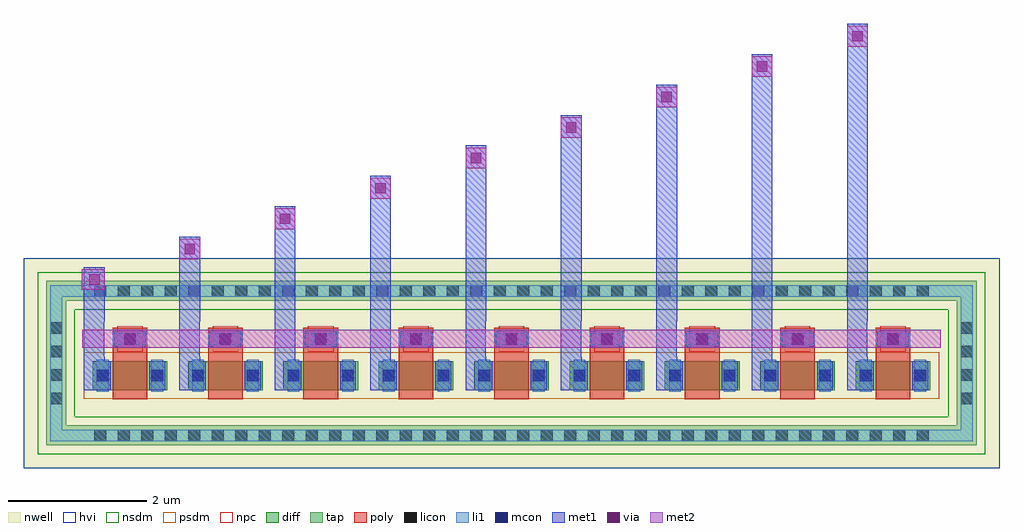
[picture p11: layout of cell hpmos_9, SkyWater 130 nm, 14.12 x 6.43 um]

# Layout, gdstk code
import gdstk
lib = gdstk.Library(unit=1e-6, precision=1e-09)
def R(c, l, rs):  # rectangles x0, y0, x1, y1
    for r in rs: c.add(gdstk.rectangle(r[:2], r[2:], *l))
def A(c, l, x, y, w, h, nx, ny, dx, dy):  # array of equal rectangles
    R(c, l, [(x+i*dx, y+j*dy, x+i*dx+w, y+j*dy+h) for i in range(nx) for j in range(ny)])
nwell = (64, 20)
diff = (65, 20)
tap = (65, 44)
poly = (66, 20)
licon = (66, 44)
li1 = (67, 20)
mcon = (67, 44)
met1 = (68, 20)
via = (68, 44)
met2 = (69, 20)
hvi = (75, 20)
nsdm = (93, 44)
psdm = (94, 20)
npc = (95, 20)

sky130_fd_pr__pfet_g5v0d = lib.new_cell('sky130_fd_pr__pfet_g5v0d10v5_WJ97JY')
R(sky130_fd_pr__pfet_g5v0d, nwell, [(-0.72,-0.7,0.72,0.53)])
R(sky130_fd_pr__pfet_g5v0d, diff, [(-0.54,-0.39,0.54,0.03)])
R(sky130_fd_pr__pfet_g5v0d, poly, [(-0.25,-0.52,0.25,0.515)])
R(sky130_fd_pr__pfet_g5v0d, licon, [(-0.48,-0.265,-0.31,-0.095), (0.31,-0.265,0.48,-0.095), (-0.085,0.265,0.085,0.435)])
R(sky130_fd_pr__pfet_g5v0d, li1, [(-0.48,-0.41,-0.31,0.05), (0.31,-0.41,0.48,0.05), (-0.25,0.265,0.25,0.435)])
R(sky130_fd_pr__pfet_g5v0d, mcon, [(-0.48,-0.265,-0.31,-0.095), (0.31,-0.265,0.48,-0.095), (-0.085,0.265,0.085,0.435)])
R(sky130_fd_pr__pfet_g5v0d, met1, [(-0.51,-0.39,-0.28,0.03), (0.28,-0.39,0.51,0.03), (-0.23,0.235,0.23,0.465)])
R(sky130_fd_pr__pfet_g5v0d, hvi, [(-0.72,-0.7,0.72,-0.6), (-1.145,-0.6,1.145,0.24), (-0.72,0.24,0.72,0.53)])
R(sky130_fd_pr__pfet_g5v0d, psdm, [(-0.665,-0.515,0.665,0.155)])
R(sky130_fd_pr__pfet_g5v0d, npc, [(-0.185,0.165,0.185,0.535)])

hpmos_1 = lib.new_cell('hpmos_1')
R(hpmos_1, met1, [(9.99,-15.165,10.31,-14.905)])
R(hpmos_1, via, [(10.075,-15.11,10.225,-14.96)])
R(hpmos_1, met2, [(9.46,-15.165,10.84,-14.905)])
hpmos_1.add(gdstk.Reference(sky130_fd_pr__pfet_g5v0d, (10.15,-15.385)))

hpmos_2 = lib.new_cell('hpmos_2')
R(hpmos_2, psdm, [(12.36,-15.745,12.41,-15.075)])
hpmos_2.add(gdstk.Reference(hpmos_1, (2.925,0.155)))
hpmos_2.add(gdstk.Reference(hpmos_1, (1.545,0.155)))

hpmos_4 = lib.new_cell('hpmos_4')
R(hpmos_4, psdm, [(4.805,0.36,4.855,1.03)])
hpmos_4.add(gdstk.Reference(hpmos_2, (-6.175,16.105)))
hpmos_4.add(gdstk.Reference(hpmos_2, (-8.935,16.105)))

hpmos_9 = lib.new_cell('hpmos_9')
R(hpmos_9, nwell, [(11.04,3.68,25.16,6.72)])
R(hpmos_9, tap, [(11.37,4.01,24.83,4.3), (11.37,4.3,11.66,6.1), (24.54,4.3,24.83,6.1), (11.37,6.1,24.83,6.39)])
A(hpmos_9, licon, 12.065, 4.07, 0.17, 0.17, 36, 2, 0.34, 2.09)
A(hpmos_9, licon, 11.43, 4.605, 0.17, 0.17, 1, 4, 0, 0.34)
A(hpmos_9, licon, 24.6, 4.605, 0.17, 0.17, 1, 4, 0, 0.34)
R(hpmos_9, li1, [(11.43,4.07,24.77,4.24), (11.43,4.24,11.6,6.16), (24.6,4.24,24.77,6.16), (11.43,6.16,24.77,6.33)])
A(hpmos_9, met1, 11.915, 4.81, 0.3, 0.485, 9, 1, 1.38, 0)
A(hpmos_9, met1, 11.915, 5.295, 0.295, 0.51, 9, 1, 1.38, 0)
R(hpmos_9, met1, [(12.26,4.81,12.265,5.11), (11.915,5.805,12.215,6.59), (13.295,5.805,13.595,7.03), (14.675,5.805,14.975,7.47), (16.055,5.805,16.355,7.91), (17.435,5.805,17.735,8.35), (18.815,5.805,19.115,8.79), (20.195,5.805,20.495,9.23), (21.575,5.805,21.875,9.67), (22.955,5.805,23.255,10.11)])
R(hpmos_9, via, [(11.99,6.335,12.14,6.485), (13.37,6.775,13.52,6.925), (14.75,7.215,14.9,7.365), (16.13,7.655,16.28,7.805), (17.51,8.095,17.66,8.245), (18.89,8.535,19.04,8.685), (20.27,8.975,20.42,9.125), (21.65,9.415,21.8,9.565), (23.03,9.855,23.18,10.005)])
R(hpmos_9, met2, [(11.885,6.26,12.215,6.56), (13.295,6.7,13.595,7), (14.675,7.14,14.975,7.44), (16.055,7.58,16.355,7.88), (17.435,8.02,17.735,8.32), (18.815,8.46,19.115,8.76), (20.195,8.9,20.495,9.2), (21.575,9.34,21.875,9.64), (22.955,9.78,23.255,10.08)])
R(hpmos_9, hvi, [(11.04,3.68,25.16,6.72)])
R(hpmos_9, nsdm, [(11.245,3.885,24.955,4.425), (11.245,4.425,11.785,5.975), (24.415,4.425,24.955,5.975), (11.245,5.975,24.955,6.515)])
R(hpmos_9, psdm, [(17.385,4.685,17.435,5.355), (22.905,4.685,22.955,5.355)])
hpmos_9.add(gdstk.Reference(hpmos_4, (15.34,4.325)))
hpmos_9.add(gdstk.Reference(hpmos_4, (9.82,4.325)))
hpmos_9.add(gdstk.Reference(hpmos_1, (13.47,20.585)))

lib.write_gds('hpmos_9.gds')
